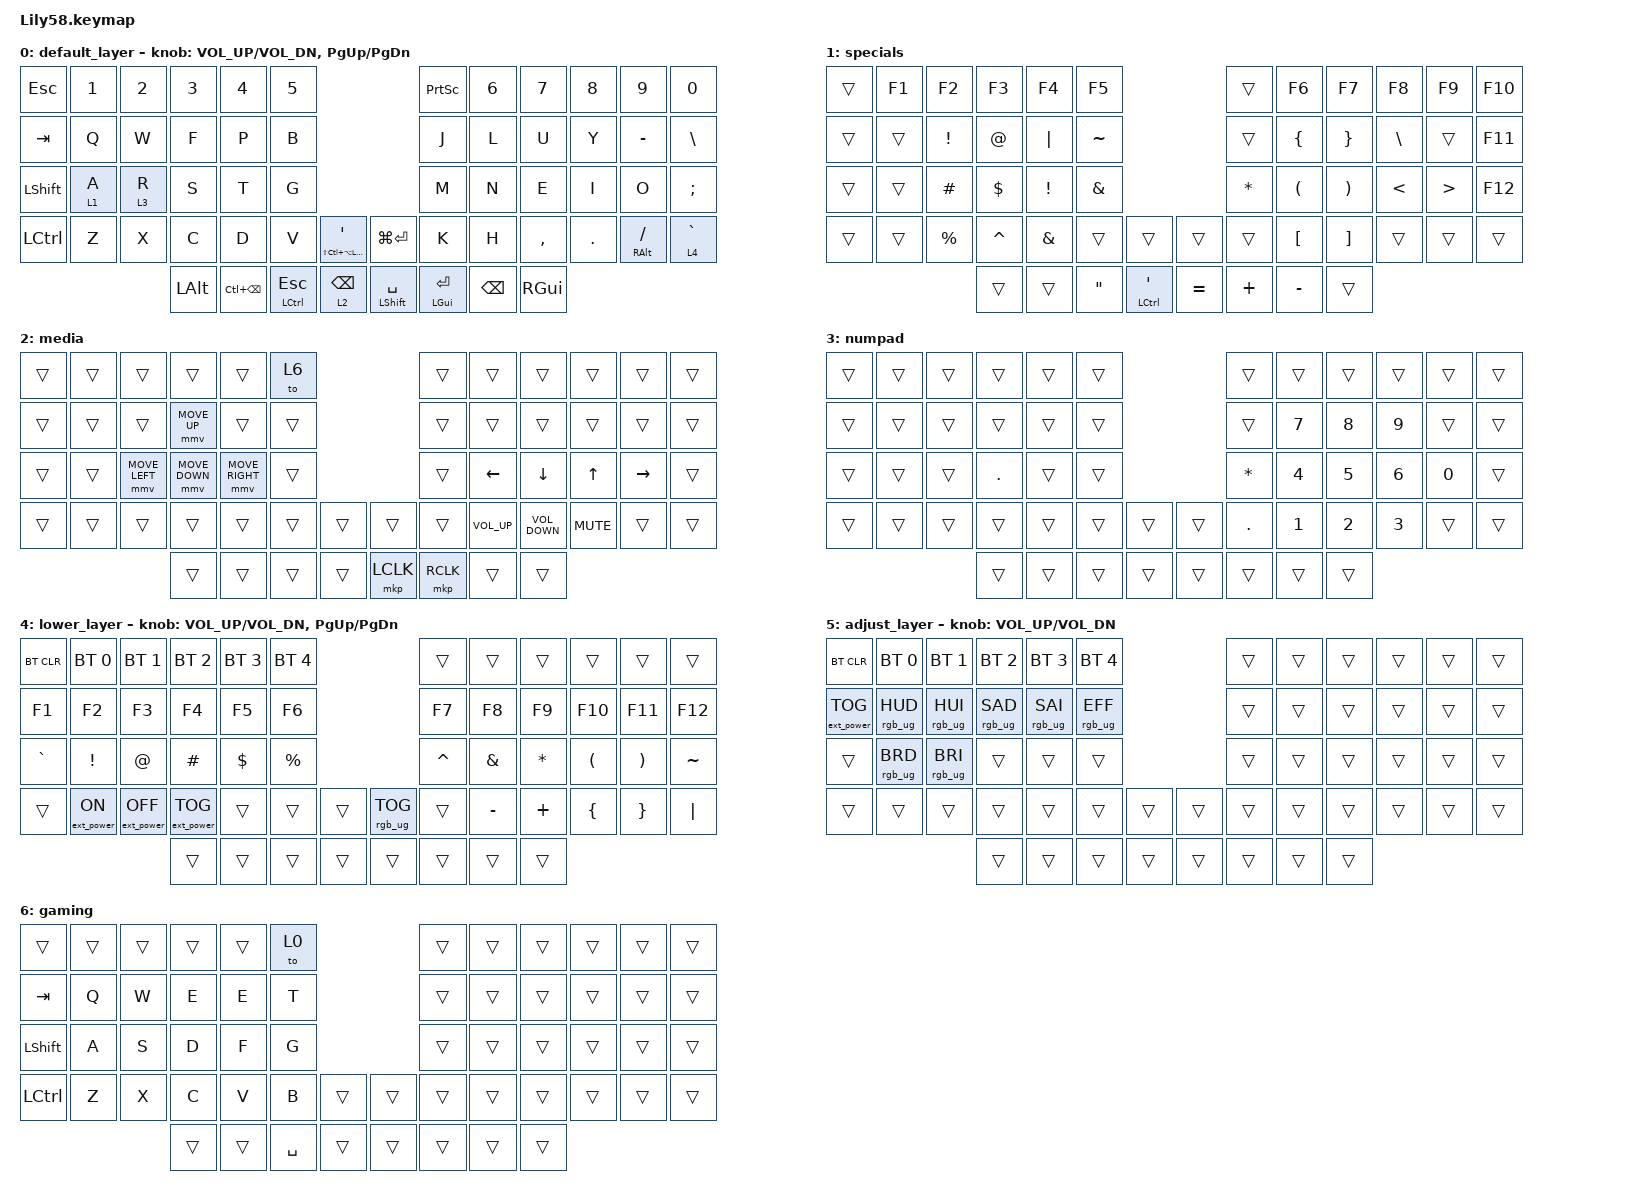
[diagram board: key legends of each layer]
/*
 * Copyright (c) 2020 The ZMK Contributors
 *
 * SPDX-License-Identifier: MIT
 */

#include <behaviors.dtsi>
#include <dt-bindings/zmk/bt.h>
#include <dt-bindings/zmk/ext_power.h>
#include <dt-bindings/zmk/keys.h>
#include <dt-bindings/zmk/pointing.h>
#include <dt-bindings/zmk/rgb.h>

/ {
    // Activate ADJUST layer by pressing raise and lower

    conditional_layers {
        compatible = "zmk,conditional-layers";

        adjust_layer {
            if-layers = <7 7>;
            then-layer = <10>;
        };
    };

    combos {
        compatible = "zmk,combos";

        vim-cmd {
            bindings = <&vim_make_cmd>;
            key-positions = <55 54>;
        };

        quota {
            bindings = <&kp DOUBLE_QUOTES>;
            key-positions = <52 51>;
        };
    };

    macros {
        vim_make_cmd: vim_make_cmd {
            compatible = "zmk,behavior-macro";
            #binding-cells = <0>;
            bindings = <&kp ESCAPE &kp COLON>, <&macro_press>;

            label = "VIM_MAKE_CMD";
        };
    };

    behaviors {
        spacehold: spacehold {
            compatible = "zmk,behavior-hold-tap";
            label = "SPACEHOLD";
            bindings = <&kp>, <&kp>;

            #binding-cells = <2>;
            tapping-term-ms = <250>;
        };
    };

    keymap {
        compatible = "zmk,keymap";

        default_layer {
            // ------------------------------------------------------------------------------------------------------------
            // |  ESC  |  1  |  2  |  3   |  4   |  5   |                   |  6   |  7    |  8    |  9   |   0   |   `   |
            // |  TAB  |  Q  |  W  |  E   |  R   |  T   |                   |  Y   |  U    |  I    |  O   |   P   |   -   |
            // |  CTRL |  A  |  S  |  D   |  F   |  G   |                   |  H   |  J    |  K    |  L   |   ;   |   '   |
            // | SHIFT |  Z  |  X  |  C   |  V   |  B   |  MUTE  |  |RGB_TOG|  N   |  M    |  ,    |  .   |   /   | SHIFT |
            //                     | ALT  | GUI  | LOWER|  SPACE |  | ENTER | RAISE| BSPC  | GUI   |

            bindings = <
&kp ESC           &kp N1   &kp N2   &kp N3    &kp N4             &kp N5                                                                         &kp PRINTSCREEN        &kp N6    &kp N7     &kp N8   &kp N9              &kp N0
&kp TAB           &kp Q    &kp W    &kp F     &kp P              &kp B                                                                          &kp J                  &kp L     &kp U      &kp Y    &kp MINUS           &kp BACKSLASH
&kp LEFT_SHIFT    &lt 1 A  &lt 3 R  &kp S     &kp T              &kp G                                                                          &kp M                  &kp N     &kp E      &kp I    &kp O               &kp SEMICOLON
&kp LEFT_CONTROL  &kp Z    &kp X    &kp C     &kp D              &kp V                 &mt LS(LC(LA(LGUI))) SQT    &kp LG(ENTER)                &kp K                  &kp H     &kp COMMA  &kp DOT  &mt RIGHT_ALT FSLH  &lt 4 GRAVE
                                    &kp LALT  &kp LC(BACKSPACE)  &mt LEFT_CONTROL ESC  &lt 2 BACKSPACE             &spacehold LEFT_SHIFT SPACE  &spacehold LGUI ENTER  &kp BSPC  &kp RGUI
            >;

            sensor-bindings = <&inc_dec_kp C_VOL_UP C_VOL_DN &inc_dec_kp PG_UP PG_DN>;
        };

        specials {
            bindings = <
&trans  &kp F1  &kp F2           &kp F3       &kp F4           &kp F5                                                       &trans        &kp F6                &kp F7                 &kp F8         &kp F9            &kp F10
&trans  &trans  &kp EXCLAMATION  &kp AT_SIGN  &kp PIPE         &kp TILDE                                                    &trans        &kp LEFT_BRACE        &kp RIGHT_BRACE        &kp BACKSLASH  &trans            &kp F11
&trans  &trans  &kp HASH         &kp DOLLAR   &kp EXCLAMATION  &kp AMPERSAND                                                &kp ASTERISK  &kp LEFT_PARENTHESIS  &kp RIGHT_PARENTHESIS  &kp LESS_THAN  &kp GREATER_THAN  &kp F12
&trans  &trans  &kp PERCENT      &kp CARET    &kp AMPERSAND    &trans             &trans                         &trans     &trans        &kp LEFT_BRACKET      &kp RIGHT_BRACKET      &trans         &trans            &trans
                                 &trans       &trans           &kp DOUBLE_QUOTES  &mt LEFT_CONTROL APOSTROPHE    &kp EQUAL  &kp PLUS      &kp MINUS             &trans
            >;
        };

        media {
            bindings = <
&trans  &trans  &trans          &trans          &trans           &to 6                        &trans     &trans           &trans             &trans        &trans           &trans
&trans  &trans  &trans          &mmv MOVE_UP    &trans           &trans                       &trans     &trans           &trans             &trans        &trans           &trans
&trans  &trans  &mmv MOVE_LEFT  &mmv MOVE_DOWN  &mmv MOVE_RIGHT  &trans                       &trans     &kp LEFT_ARROW   &kp DOWN           &kp UP_ARROW  &kp RIGHT_ARROW  &trans
&trans  &trans  &trans          &trans          &trans           &trans  &trans    &trans     &trans     &kp C_VOLUME_UP  &kp C_VOLUME_DOWN  &kp C_MUTE    &trans           &trans
                                &trans          &trans           &trans  &trans    &mkp LCLK  &mkp RCLK  &trans           &trans
            >;
        };

        numpad {
            bindings = <
&trans  &trans  &trans  &trans   &trans  &trans                    &trans        &trans        &trans        &trans        &trans        &trans
&trans  &trans  &trans  &trans   &trans  &trans                    &trans        &kp NUMBER_7  &kp NUMBER_8  &kp NUMBER_9  &trans        &trans
&trans  &trans  &trans  &kp DOT  &trans  &trans                    &kp ASTERISK  &kp NUMBER_4  &kp N5        &kp NUMBER_6  &kp NUMBER_0  &trans
&trans  &trans  &trans  &trans   &trans  &trans  &trans    &trans  &kp DOT       &kp NUMBER_1  &kp NUMBER_2  &kp NUMBER_3  &trans        &trans
                        &trans   &trans  &trans  &trans    &trans  &trans        &trans        &trans
            >;
        };

        lower_layer {
            // ------------------------------------------------------------------------------------------------------------
            // | BTCLR | BT1 | BT2 |  BT3 |  BT4 |  BT5 |                   |      |       |       |      |       |       |
            // |  F1   |  F2 |  F3 |  F4  |  F5  |  F6  |                   |  F7  |  F8   |  F9   |  F10 |  F11  |  F12  |
            // |   `   |  !  |  @  |  #   |  $   |  %   |                   |  ^   |  &    |  *    |  (   |   )   |   ~   |
            // |EXTPWR |     |     |      |      |      |        |  |       |      |  _    |  +    |  {   |   }   |  "|"  |
            //                     |      |      |      |        |  |       |      |       |       |

            bindings = <
&bt BT_CLR  &bt BT_SEL 0      &bt BT_SEL 1       &bt BT_SEL 2       &bt BT_SEL 3  &bt BT_SEL 4                             &trans     &trans     &trans     &trans    &trans    &trans
&kp F1      &kp F2            &kp F3             &kp F4             &kp F5        &kp F6                                   &kp F7     &kp F8     &kp F9     &kp F10   &kp F11   &kp F12
&kp GRAVE   &kp EXCL          &kp AT             &kp HASH           &kp DOLLAR    &kp PRCNT                                &kp CARET  &kp AMPS   &kp ASTRK  &kp LPAR  &kp RPAR  &kp TILDE
&trans      &ext_power EP_ON  &ext_power EP_OFF  &ext_power EP_TOG  &trans        &trans        &trans    &rgb_ug RGB_TOG  &trans     &kp MINUS  &kp PLUS   &kp LBRC  &kp RBRC  &kp PIPE
                                                 &trans             &trans        &trans        &trans    &trans           &trans     &trans     &trans
            >;

            sensor-bindings = <&inc_dec_kp C_VOL_UP C_VOL_DN &inc_dec_kp PG_UP PG_DN>;
        };

        adjust_layer {
            // ----------------------------------------------------------------------------------------------------------------------------
            // | BTCLR  |  BT1    |  BT2    |   BT3   |   BT4   |   BT5   |                  |      |      |       |      |       |       |
            // | EXTPWR | RGB_HUD | RGB_HUI | RGB_SAD | RGB_SAI | RGB_EFF |                  |      |      |       |      |       |       |
            // |        | RGB_BRD | RGB_BRI |         |         |         |                  |      |      |       |      |       |       |
            // |        |         |         |         |         |         | RGB_TOG | |      |      |      |       |      |       |       |
            //                    |         |         |         |         |         | |      |      |      |       |      |

            bindings = <
&bt BT_CLR         &bt BT_SEL 0     &bt BT_SEL 1     &bt BT_SEL 2     &bt BT_SEL 3     &bt BT_SEL 4                       &trans  &trans  &trans  &trans  &trans  &trans
&ext_power EP_TOG  &rgb_ug RGB_HUD  &rgb_ug RGB_HUI  &rgb_ug RGB_SAD  &rgb_ug RGB_SAI  &rgb_ug RGB_EFF                    &trans  &trans  &trans  &trans  &trans  &trans
&trans             &rgb_ug RGB_BRD  &rgb_ug RGB_BRI  &trans           &trans           &trans                             &trans  &trans  &trans  &trans  &trans  &trans
&trans             &trans           &trans           &trans           &trans           &trans           &trans    &trans  &trans  &trans  &trans  &trans  &trans  &trans
                                                     &trans           &trans           &trans           &trans    &trans  &trans  &trans  &trans
            >;

            sensor-bindings = <&inc_dec_kp C_VOL_UP C_VOL_DN>;
        };

        gaming {
            bindings = <
&trans            &trans  &trans  &trans  &trans  &to 0                        &trans  &trans  &trans  &trans  &trans  &trans
&kp TAB           &kp Q   &kp W   &kp E   &kp E   &kp T                        &trans  &trans  &trans  &trans  &trans  &trans
&kp LEFT_SHIFT    &kp A   &kp S   &kp D   &kp F   &kp G                        &trans  &trans  &trans  &trans  &trans  &trans
&kp LEFT_CONTROL  &kp Z   &kp X   &kp C   &kp V   &kp B      &trans    &trans  &trans  &trans  &trans  &trans  &trans  &trans
                                  &trans  &trans  &kp SPACE  &trans    &trans  &trans  &trans  &trans
            >;
        };

        extra1 { status = "reserved"; };

        extra2 { status = "reserved"; };

        extra3 { status = "reserved"; };

        extra4 { status = "reserved"; };

        extra5 { status = "reserved"; };
    };
};
